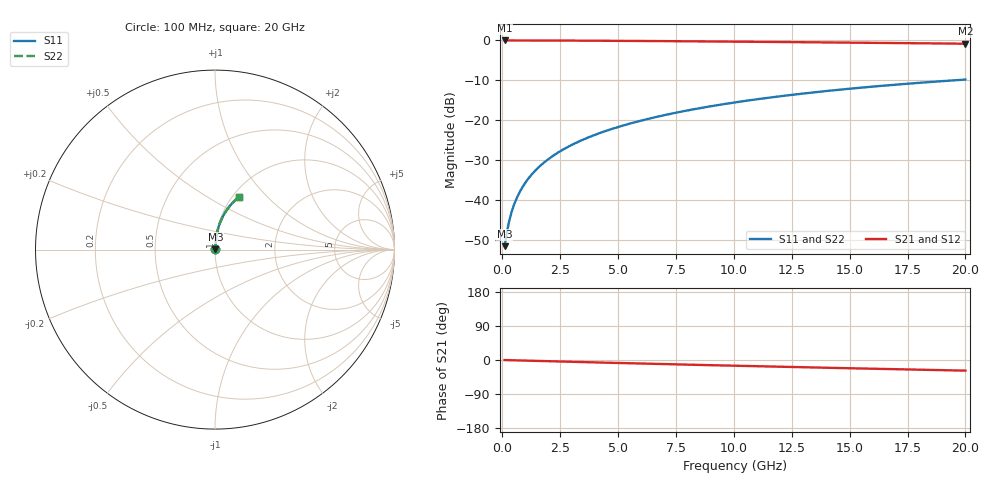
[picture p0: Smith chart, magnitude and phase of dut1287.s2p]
! Touchstone file exported from HFSS 2024.1.0
!  File:  C:/UserFiles/LocalFiles/RDL_TSV_Batchsim/temp_RDL_top_1287_1780242758.aedt
!  Generated:  11:55:01 PM May 31, 2026
!  Design:  RDL_top
!  Project:  temp_RDL_top_1287_1780242758
!  Setup:  Setup1
!  Solution:  Sweep
! Variables:
!  dtsv = 10.80580581um
!  hbump = 3um
!  htsv = 83.54um
!  ldown = 100um
!  lrdl = 338.91um
!  p = 40
!  p1 = 53um
!  rhole = 1um
!  t = 450um
!  tdown = 3.915915916um
!  trdl = 3.88um
!  wdown = 15.38538539um
!  wrdl = 16.47um
# GHz S MA R 50.000000
! Terminal data exported
! Port[1] = Box2_T1
! Port[2] = Box2_T2
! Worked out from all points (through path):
!   200 points, 100 MHz to 20 GHz, reference 50 ohm
!   highest |S21| = -0.02 dB at 100 MHz (marker M1); lowest = -0.8 dB at 20 GHz (marker M2)
!   group delay of S21, straight-line fit = 3.88 ps
!   lowest |S11| = -51.5 dB at 100 MHz (marker M3), VSWR 1.01, Z = 50.2 + j0.172 ohm
!   |S11| at or under -10 dB: start of sweep to 19.5 GHz
!   |S22| runs from -51.5 to -9.8 dB; largest |S21 - S12| = 2.3e-15
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0.1  0.002656 40.2  0.998 -0.2  0.998 -0.2  0.002656 40.2
! Gamma 0 0 0 0
! Port Impedance 50 0 50 0
0.2  0.003995 58.5  0.9979 -0.3  0.9979 -0.3  0.003995 58.5
0.3  0.00551 66.9  0.9978 -0.5  0.9978 -0.5  0.00551 66.9
0.4  0.007069 71.6  0.9977 -0.7  0.9977 -0.7  0.007069 71.6
0.5  0.008643 74.5  0.9976 -0.8  0.9976 -0.8  0.008643 74.5
0.6  0.01023 76.6  0.9975 -1.0  0.9975 -1.0  0.01023 76.6
0.8  0.01341 79.3  0.9974 -1.3  0.9974 -1.3  0.01341 79.3
1.1  0.01821 81.6  0.9971 -1.8  0.9971 -1.8  0.01821 81.6
1.5  0.02467 83.1  0.9966 -2.4  0.9966 -2.4  0.02467 83.1
1.8  0.02954 83.7  0.9961 -2.9  0.9961 -2.9  0.02954 83.7
2.1  0.03442 84.1  0.9956 -3.4  0.9956 -3.4  0.03442 84.1
2.7  0.04424 84.4  0.9943 -4.3  0.9943 -4.3  0.04424 84.4
3.5  0.05741 84.4  0.9922 -5.6  0.9922 -5.6  0.05741 84.4
4.2  0.06901 84.1  0.99 -6.6  0.99 -6.6  0.06901 84.1
5  0.08235 83.6  0.9871 -7.8  0.9871 -7.8  0.08235 83.6
5.9  0.09744 82.8  0.9836 -9.2  0.9836 -9.2  0.09745 82.8
6.8  0.1126 82.0  0.9798 -10.5  0.9798 -10.5  0.1126 82.0
8.3  0.1379 80.3  0.973 -12.7  0.973 -12.7  0.1379 80.4
10.1  0.1682 78.2  0.9641 -15.2  0.9641 -15.2  0.1683 78.2
13.4  0.2227 74.0  0.9468 -19.7  0.9468 -19.7  0.2227 74.0
16.7  0.2747 69.7  0.9282 -24.0  0.9282 -24.0  0.2747 69.7
20  0.3234 65.5  0.9086 -28.1  0.9086 -28.1  0.3235 65.5
